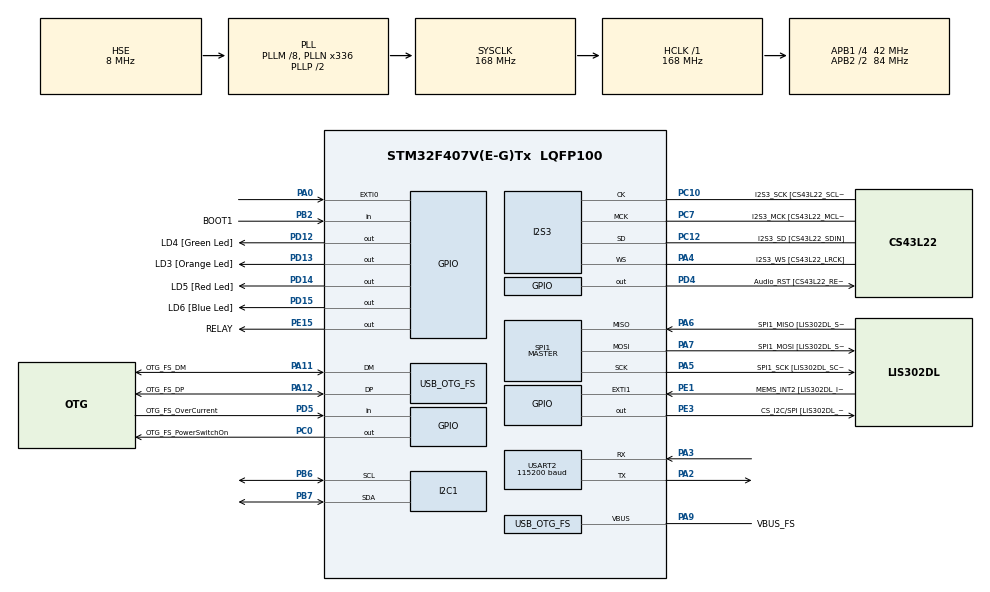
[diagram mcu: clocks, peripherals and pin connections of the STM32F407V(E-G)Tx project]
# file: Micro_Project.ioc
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Dma.Request0=USART2_RX
Dma.USART2_RX.0.Direction=DMA_PERIPH_TO_MEMORY
Dma.USART2_RX.0.FIFOMode=DMA_FIFOMODE_DISABLE
Dma.USART2_RX.0.Instance=DMA1_Stream5
Dma.USART2_RX.0.MemDataAlignment=DMA_MDATAALIGN_BYTE
Dma.USART2_RX.0.MemInc=DMA_MINC_ENABLE
Dma.USART2_RX.0.Mode=DMA_CIRCULAR
Dma.USART2_RX.0.PeriphDataAlignment=DMA_PDATAALIGN_BYTE
Dma.USART2_RX.0.PeriphInc=DMA_PINC_DISABLE
Dma.USART2_RX.0.Priority=DMA_PRIORITY_LOW
I2C1.I2C_Mode=I2C_Fast
I2S3.AudioFreq-Half_Duplex_Master=I2S_AUDIOFREQ_96K
I2S3.ErrorAudioFreq=-2.34 %
I2S3.ErrorAudioFreq-Half_Duplex_Master=0.8 %
I2S3.FullDuplexMode=I2S_FULLDUPLEXMODE_DISABLE
I2S3.Instance=SPI$Index
I2S3.RealAudioFreq=93.75 KHz
I2S3.RealAudioFreq-Half_Duplex_Master=96.774 KHz
I2S3.VirtualMode=I2S_MODE_MASTER
Mcu.Family=STM32F4
Mcu.Name=STM32F407V(E-G)Tx
Mcu.Package=LQFP100
NVIC.DMA1_Stream5_IRQn=true\:1\:0\:true\:false\:true\:false\:true\:true
NVIC.EXTI0_IRQn=true\:1\:0\:true\:false\:true\:true\:true\:true
NVIC.OTG_FS_IRQn=true\:1\:0\:true\:false\:true\:true\:true\:true
NVIC.PriorityGroup=NVIC_PRIORITYGROUP_1
NVIC.USART2_IRQn=true\:1\:0\:true\:false\:true\:true\:true\:true
PA0-WKUP.Signal=GPXTI0
PA10.GPIO_Label=OTG_FS_ID
PA10.GPIO_Mode=GPIO_MODE_AF_PP
PA10.GPIO_PuPd=GPIO_NOPULL
PA10.GPIO_Speed=GPIO_SPEED_FREQ_LOW
PA10.Signal=USB_OTG_FS_ID
PA11.GPIO_Label=OTG_FS_DM
PA11.GPIO_Mode=GPIO_MODE_AF_PP
PA11.GPIO_PuPd=GPIO_NOPULL
PA11.GPIO_Speed=GPIO_SPEED_FREQ_LOW
PA11.Mode=Host_Only
PA11.Signal=USB_OTG_FS_DM
PA12.GPIO_Label=OTG_FS_DP
PA12.GPIO_Mode=GPIO_MODE_AF_PP
PA12.GPIO_PuPd=GPIO_NOPULL
PA12.GPIO_Speed=GPIO_SPEED_FREQ_LOW
PA12.Mode=Host_Only
PA12.Signal=USB_OTG_FS_DP
PA13.GPIO_Label=SWDIO
PA13.Mode=Serial_Wire
PA13.Signal=SYS_JTMS-SWDIO
PA14.GPIO_Label=SWCLK
PA14.Mode=Serial_Wire
PA14.Signal=SYS_JTCK-SWCLK
PA2.Mode=Asynchronous
PA2.Signal=USART2_TX
PA3.Mode=Asynchronous
PA3.Signal=USART2_RX
PA4.GPIO_Label=I2S3_WS [CS43L22_LRCK]
PA4.GPIO_Mode=GPIO_MODE_AF_PP
PA4.GPIO_PuPd=GPIO_NOPULL
PA4.GPIO_Speed=GPIO_SPEED_FREQ_LOW
PA4.Mode=Half_Duplex_Master
PA4.Signal=I2S3_WS
PA5.GPIO_Label=SPI1_SCK [LIS302DL_SCL/SPC]
PA5.GPIO_Mode=GPIO_MODE_AF_PP
PA5.GPIO_PuPd=GPIO_NOPULL
PA5.GPIO_Speed=GPIO_SPEED_FREQ_LOW
PA5.Mode=Full_Duplex_Master
PA5.Signal=SPI1_SCK
PA6.GPIO_Label=SPI1_MISO [LIS302DL_SDO]
PA6.GPIO_Mode=GPIO_MODE_AF_PP
PA6.GPIO_PuPd=GPIO_NOPULL
PA6.GPIO_Speed=GPIO_SPEED_FREQ_LOW
PA6.Mode=Full_Duplex_Master
PA6.Signal=SPI1_MISO
PA7.GPIO_Label=SPI1_MOSI [LIS302DL_SDA/SDI/SDO]
PA7.GPIO_Mode=GPIO_MODE_AF_PP
PA7.GPIO_PuPd=GPIO_NOPULL
PA7.GPIO_Speed=GPIO_SPEED_FREQ_LOW
PA7.Mode=Full_Duplex_Master
PA7.Signal=SPI1_MOSI
PA9.GPIO_Label=VBUS_FS
PA9.GPIO_Mode=GPIO_MODE_INPUT
PA9.GPIO_PuPd=GPIO_NOPULL
PA9.Mode=Activate_VBUS
PA9.Signal=USB_OTG_FS_VBUS
PB10.GPIO_Label=CLK_IN [MP45DT02_CLK]
PB10.GPIO_Mode=GPIO_MODE_AF_PP
PB10.GPIO_PuPd=GPIO_NOPULL
PB10.GPIO_Speed=GPIO_SPEED_FREQ_LOW
PB10.Signal=I2S2_CK
PB2.GPIO_Label=BOOT1
PB2.GPIO_Mode=GPIO_MODE_INPUT
PB2.GPIO_PuPd=GPIO_NOPULL
PB2.Signal=GPIO_Input
PB3.GPIO_Label=SWO
PB3.Signal=SYS_JTDO-SWO
PB6.Mode=I2C
PB6.Signal=I2C1_SCL
PB7.Mode=I2C
PB7.Signal=I2C1_SDA
PC0.GPIO_Label=OTG_FS_PowerSwitchOn
PC0.GPIO_PuPd=GPIO_NOPULL
PC0.GPIO_Speed=GPIO_SPEED_FREQ_LOW
PC0.PinState=GPIO_PIN_SET
PC0.Signal=GPIO_Output
PC10.GPIO_Label=I2S3_SCK [CS43L22_SCLK]
PC10.GPIO_Mode=GPIO_MODE_AF_PP
PC10.GPIO_PuPd=GPIO_NOPULL
PC10.GPIO_Speed=GPIO_SPEED_FREQ_LOW
PC10.Mode=Half_Duplex_Master
PC10.Signal=I2S3_CK
PC12.GPIO_Label=I2S3_SD [CS43L22_SDIN]
PC12.GPIO_Mode=GPIO_MODE_AF_PP
PC12.GPIO_PuPd=GPIO_NOPULL
PC12.GPIO_Speed=GPIO_SPEED_FREQ_LOW
PC12.Mode=Half_Duplex_Master
PC12.Signal=I2S3_SD
PC14-OSC32_IN.GPIO_Label=PC14-OSC32_IN
PC14-OSC32_IN.Mode=LSE-External-Oscillator
PC14-OSC32_IN.Signal=RCC_OSC32_IN
PC15-OSC32_OUT.GPIO_Label=PC15-OSC32_OUT
PC15-OSC32_OUT.Mode=LSE-External-Oscillator
PC15-OSC32_OUT.Signal=RCC_OSC32_OUT
PC3.GPIO_Label=PDM_OUT [MP45DT02_DOUT]
PC3.GPIO_Mode=GPIO_MODE_AF_PP
PC3.GPIO_PuPd=GPIO_NOPULL
PC3.GPIO_Speed=GPIO_SPEED_FREQ_LOW
PC3.Signal=I2S2_SD
PC7.GPIO_Label=I2S3_MCK [CS43L22_MCLK]
PC7.GPIO_Mode=GPIO_MODE_AF_PP
PC7.GPIO_PuPd=GPIO_NOPULL
PC7.GPIO_Speed=GPIO_SPEED_FREQ_LOW
PC7.Mode=Master_Clock_Activated
PC7.Signal=I2S3_MCK
PD12.GPIO_Label=LD4 [Green Led]
PD12.GPIO_PuPd=GPIO_NOPULL
PD12.GPIO_Speed=GPIO_SPEED_FREQ_LOW
PD12.Signal=GPIO_Output
PD13.GPIO_Label=LD3 [Orange Led]
PD13.GPIO_PuPd=GPIO_NOPULL
PD13.GPIO_Speed=GPIO_SPEED_FREQ_LOW
PD13.Signal=GPIO_Output
PD14.GPIO_Label=LD5 [Red Led]
PD14.GPIO_PuPd=GPIO_NOPULL
PD14.GPIO_Speed=GPIO_SPEED_FREQ_LOW
PD14.Signal=GPIO_Output
PD15.GPIO_Label=LD6 [Blue Led]
PD15.GPIO_PuPd=GPIO_NOPULL
PD15.GPIO_Speed=GPIO_SPEED_FREQ_LOW
PD15.Signal=GPIO_Output
PD4.GPIO_Label=Audio_RST [CS43L22_RESET]
PD4.GPIO_PuPd=GPIO_NOPULL
PD4.GPIO_Speed=GPIO_SPEED_FREQ_LOW
PD4.Signal=GPIO_Output
PD5.GPIO_Label=OTG_FS_OverCurrent
PD5.GPIO_Mode=GPIO_MODE_INPUT
PD5.GPIO_PuPd=GPIO_NOPULL
PD5.Signal=GPIO_Input
PE1.GPIO_Label=MEMS_INT2 [LIS302DL_INT2]
PE1.GPIO_ModeDefaultEXTI=GPIO_MODE_EVT_RISING
PE1.GPIO_PuPd=GPIO_NOPULL
PE1.Signal=GPXTI1
PE15.GPIO_Label=RELAY
PE15.Signal=GPIO_Output
PE3.GPIO_Label=CS_I2C/SPI [LIS302DL_CS_I2C/SPI]
PE3.GPIO_PuPd=GPIO_NOPULL
PE3.GPIO_Speed=GPIO_SPEED_FREQ_LOW
PE3.Signal=GPIO_Output
PH0-OSC_IN.GPIO_Label=PH0-OSC_IN
PH0-OSC_IN.Mode=HSE-External-Oscillator
PH0-OSC_IN.Signal=RCC_OSC_IN
PH1-OSC_OUT.GPIO_Label=PH1-OSC_OUT
PH1-OSC_OUT.Mode=HSE-External-Oscillator
PH1-OSC_OUT.Signal=RCC_OSC_OUT
ProjectManager.HeapSize=0x200
ProjectManager.StackSize=0x400
ProjectManager.TargetToolchain=STM32CubeIDE
RCC.48MHZClocksFreq_Value=48000000
RCC.AHBFreq_Value=168000000
RCC.APB1CLKDivider=RCC_HCLK_DIV4
RCC.APB1Freq_Value=42000000
RCC.APB1TimFreq_Value=84000000
RCC.APB2CLKDivider=RCC_HCLK_DIV2
RCC.APB2Freq_Value=84000000
RCC.APB2TimFreq_Value=168000000
RCC.CortexFreq_Value=168000000
RCC.HCLKFreq_Value=168000000
RCC.HSE_VALUE=8000000
RCC.HSI_VALUE=16000000
RCC.PLLM=8
RCC.PLLN=336
RCC.PLLQ=7
RCC.SYSCLKFreq_VALUE=168000000
RCC.SYSCLKSource=RCC_SYSCLKSOURCE_PLLCLK
RCC.VCOOutputFreq_Value=336000000
SPI1.BaudRatePrescaler-Full_Duplex_Master=SPI_BAUDRATEPRESCALER_2
SPI1.CalculateBaudRate-Full_Duplex_Master=42.0 MBits/s
SPI1.Direction=SPI_DIRECTION_2LINES
SPI1.Mode=SPI_MODE_MASTER
SPI1.Mode-Full_Duplex_Master=SPI_MODE_MASTER
SPI1.VirtualType=VM_MASTER
USART2.BaudRate=115200
USART2.VirtualMode=VM_ASYNC
USB_HOST.BSP.number=1
USB_HOST.USBH_HandleTypeDef-CDC_FS=hUsbHostFS
USB_HOST.VirtualModeFS=Cdc
USB_HOST0.BSP.STBoard=false
USB_HOST0.BSP.api=Unknown
USB_HOST0.BSP.instance=PC0
USB_HOST0.BSP.ip=GPIO
USB_HOST0.BSP.mode=Output
USB_HOST0.BSP.name=Drive_VBUS_FS
USB_HOST0.BSP.solution=PC0
USB_OTG_FS.VirtualMode=Host_Only
USB_OTG_FS.phy_itface=HCD_PHY_EMBEDDED
VP_USB_HOST_VS_USB_HOST_CDC_FS.Mode=CDC_FS
board=STM32F407G-DISC1

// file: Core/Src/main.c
/* USER CODE BEGIN Header */
/**
  ******************************************************************************
  * @file           : main.c
  * @brief          : Main program body
  ******************************************************************************
  * @attention
  *
  * Copyright (c) 2023 STMicroelectronics.
  * All rights reserved.
  *
  * This software is licensed under terms that can be found in the LICENSE file
  * in the root directory of this software component.
  * If no LICENSE file comes with this software, it is provided AS-IS.
  *
  ******************************************************************************
  */
/* USER CODE END Header */
#include "main.h"
#include "usb_host.h"

/* USER CODE BEGIN Includes */
#include "BMP180.h"
/* USER CODE END Includes */

I2C_HandleTypeDef hi2c1;

I2S_HandleTypeDef hi2s3;

SPI_HandleTypeDef hspi1;

UART_HandleTypeDef huart2;
DMA_HandleTypeDef hdma_usart2_rx;

/* USER CODE BEGIN PV */

float Temperature						;
uint8_t mode_select 		   	    =  0;
uint8_t lower_limit 		  	    = 20;
uint8_t upper_limit 		  	    = 21;
uint8_t Rx_data[8]						;
uint8_t combi_state 			   	 = 0;
volatile uint32_t tick_counter	 	=  0;

/* USER CODE END PV */

void SystemClock_Config(void);
static void MX_GPIO_Init(void);
static void MX_DMA_Init(void);
static void MX_I2C1_Init(void);
static void MX_I2S3_Init(void);
static void MX_SPI1_Init(void);
static void MX_USART2_UART_Init(void);
void MX_USB_HOST_Process(void);

int main(void)
{

  /* MCU Configuration--------------------------------------------------------*/

  /* Reset of all peripherals, Initializes the Flash interface and the Systick. */
  HAL_Init();

  /* Configure the system clock */
  SystemClock_Config();

  /* Initialize all configured peripherals */
  MX_GPIO_Init();
  MX_DMA_Init();
  MX_I2C1_Init();
  MX_I2S3_Init();
  MX_SPI1_Init();
  MX_USB_HOST_Init();
  MX_USART2_UART_Init();
  /* USER CODE BEGIN 2 */
  /* bmp180 ve uart it sini baslat */
  BMP180_Start();
  HAL_UART_Receive_IT(&huart2, Rx_data, 3);
  /* USER CODE END 2 */

  /* Infinite loop */
  while (1)
  {
    MX_USB_HOST_Process();

    /* USER CODE BEGIN 3 */

    uint8_t data[3] = "";
    /* sicaklik verisini oku */
    Temperature = BMP180_GetTemp();
//    uint8_t temperature = 0;
//    temperature = (int)Temperature;
//    sprintf(data, "%d", temperature + 300);
//    HAL_UART_Transmit (&huart2, data, sizeof (data), 10);

    /* kombinin acik olup olmadigini kontrol et */
    if(combi_state)
    {
    	/* kombinin acik oldugunu ilet */
    	uint8_t dataon[1] = "a";
    	HAL_UART_Transmit (&huart2, dataon, sizeof (dataon), 10);
    }
    else
    {
    	/* kombinin kapali oldugunu ilet */
    	uint8_t dataoff[1] = "b";
    	HAL_UART_Transmit (&huart2, dataoff, sizeof (dataoff), 10);
    }
    HAL_Delay(200);

    /* mode u kontrol et */
    if(!mode_select)
    {   /* mode a gore ledleri binary olarak kaydet */
    	HAL_GPIO_WritePin(LD4_GPIO_Port, LD4_Pin, ((lower_limit - 20) & 0x01));
    	HAL_GPIO_WritePin(LD6_GPIO_Port, LD6_Pin, ((lower_limit - 20) & 0x02));
    	HAL_GPIO_WritePin(LD5_GPIO_Port, LD5_Pin, ((lower_limit - 20) & 0x04));
    }
    else
    {
    	/* mode a gore ledleri binary olarak kaydet */
    	HAL_GPIO_WritePin(LD4_GPIO_Port, LD4_Pin, ((upper_limit - 21) & 0x01));
    	HAL_GPIO_WritePin(LD6_GPIO_Port, LD6_Pin, ((upper_limit - 21) & 0x02));
    	HAL_GPIO_WritePin(LD5_GPIO_Port, LD5_Pin, ((upper_limit - 21) & 0x04));
    }

    /* sicaklik alt limitin altindaysa kombiyi ac */
    if(Temperature < lower_limit)
    {
    	HAL_GPIO_WritePin(GPIOE, GPIO_PIN_15, SET);
    	combi_state = 1;
    }
    /* sicaklik ust limitin ustundeyse kombiyi kapat */
    if(Temperature > upper_limit)
    {
    	HAL_GPIO_WritePin(GPIOE, GPIO_PIN_15, RESET);
    	combi_state = 0;
    }

  }
  /* USER CODE END 3 */
}

void SystemClock_Config(void)
{
  RCC_OscInitTypeDef RCC_OscInitStruct = {0};
  RCC_ClkInitTypeDef RCC_ClkInitStruct = {0};

  /** Configure the main internal regulator output voltage
  */
  __HAL_RCC_PWR_CLK_ENABLE();
  __HAL_PWR_VOLTAGESCALING_CONFIG(PWR_REGULATOR_VOLTAGE_SCALE1);

  /** Initializes the RCC Oscillators according to the specified parameters
  * in the RCC_OscInitTypeDef structure.
  */
  RCC_OscInitStruct.OscillatorType = RCC_OSCILLATORTYPE_HSE;
  RCC_OscInitStruct.HSEState = RCC_HSE_ON;
  RCC_OscInitStruct.PLL.PLLState = RCC_PLL_ON;
  RCC_OscInitStruct.PLL.PLLSource = RCC_PLLSOURCE_HSE;
  RCC_OscInitStruct.PLL.PLLM = 8;
  RCC_OscInitStruct.PLL.PLLN = 336;
  RCC_OscInitStruct.PLL.PLLP = RCC_PLLP_DIV2;
  RCC_OscInitStruct.PLL.PLLQ = 7;
  if (HAL_RCC_OscConfig(&RCC_OscInitStruct) != HAL_OK)
  {
    Error_Handler();
  }

  /** Initializes the CPU, AHB and APB buses clocks
  */
  RCC_ClkInitStruct.ClockType = RCC_CLOCKTYPE_HCLK|RCC_CLOCKTYPE_SYSCLK
                              |RCC_CLOCKTYPE_PCLK1|RCC_CLOCKTYPE_PCLK2;
  RCC_ClkInitStruct.SYSCLKSource = RCC_SYSCLKSOURCE_PLLCLK;
  RCC_ClkInitStruct.AHBCLKDivider = RCC_SYSCLK_DIV1;
  RCC_ClkInitStruct.APB1CLKDivider = RCC_HCLK_DIV4;
  RCC_ClkInitStruct.APB2CLKDivider = RCC_HCLK_DIV2;

  if (HAL_RCC_ClockConfig(&RCC_ClkInitStruct, FLASH_LATENCY_5) != HAL_OK)
  {
    Error_Handler();
  }
}

static void MX_I2C1_Init(void)
{

  hi2c1.Instance = I2C1;
  hi2c1.Init.ClockSpeed = 400000;
  hi2c1.Init.DutyCycle = I2C_DUTYCYCLE_2;
  hi2c1.Init.OwnAddress1 = 0;
  hi2c1.Init.AddressingMode = I2C_ADDRESSINGMODE_7BIT;
  hi2c1.Init.DualAddressMode = I2C_DUALADDRESS_DISABLE;
  hi2c1.Init.OwnAddress2 = 0;
  hi2c1.Init.GeneralCallMode = I2C_GENERALCALL_DISABLE;
  hi2c1.Init.NoStretchMode = I2C_NOSTRETCH_DISABLE;
  if (HAL_I2C_Init(&hi2c1) != HAL_OK)
  {
    Error_Handler();
  }

}

static void MX_I2S3_Init(void)
{

  hi2s3.Instance = SPI3;
  hi2s3.Init.Mode = I2S_MODE_MASTER_TX;
  hi2s3.Init.Standard = I2S_STANDARD_PHILIPS;
  hi2s3.Init.DataFormat = I2S_DATAFORMAT_16B;
  hi2s3.Init.MCLKOutput = I2S_MCLKOUTPUT_ENABLE;
  hi2s3.Init.AudioFreq = I2S_AUDIOFREQ_96K;
  hi2s3.Init.CPOL = I2S_CPOL_LOW;
  hi2s3.Init.ClockSource = I2S_CLOCK_PLL;
  hi2s3.Init.FullDuplexMode = I2S_FULLDUPLEXMODE_DISABLE;
  if (HAL_I2S_Init(&hi2s3) != HAL_OK)
  {
    Error_Handler();
  }

}

static void MX_SPI1_Init(void)
{

  /* SPI1 parameter configuration*/
  hspi1.Instance = SPI1;
  hspi1.Init.Mode = SPI_MODE_MASTER;
  hspi1.Init.Direction = SPI_DIRECTION_2LINES;
  hspi1.Init.DataSize = SPI_DATASIZE_8BIT;
  hspi1.Init.CLKPolarity = SPI_POLARITY_LOW;
  hspi1.Init.CLKPhase = SPI_PHASE_1EDGE;
  hspi1.Init.NSS = SPI_NSS_SOFT;
  hspi1.Init.BaudRatePrescaler = SPI_BAUDRATEPRESCALER_2;
  hspi1.Init.FirstBit = SPI_FIRSTBIT_MSB;
  hspi1.Init.TIMode = SPI_TIMODE_DISABLE;
  hspi1.Init.CRCCalculation = SPI_CRCCALCULATION_DISABLE;
  hspi1.Init.CRCPolynomial = 10;
  if (HAL_SPI_Init(&hspi1) != HAL_OK)
  {
    Error_Handler();
  }

}

static void MX_USART2_UART_Init(void)
{

  huart2.Instance = USART2;
  huart2.Init.BaudRate = 115200;
  huart2.Init.WordLength = UART_WORDLENGTH_8B;
  huart2.Init.StopBits = UART_STOPBITS_1;
  huart2.Init.Parity = UART_PARITY_NONE;
  huart2.Init.Mode = UART_MODE_TX_RX;
  huart2.Init.HwFlowCtl = UART_HWCONTROL_NONE;
  huart2.Init.OverSampling = UART_OVERSAMPLING_16;
  if (HAL_UART_Init(&huart2) != HAL_OK)
  {
    Error_Handler();
  }

}

static void MX_DMA_Init(void)
{

  /* DMA controller clock enable */
  __HAL_RCC_DMA1_CLK_ENABLE();

  /* DMA interrupt init */
  /* DMA1_Stream5_IRQn interrupt configuration */
  HAL_NVIC_SetPriority(DMA1_Stream5_IRQn, 1, 0);
  HAL_NVIC_EnableIRQ(DMA1_Stream5_IRQn);

}

static void MX_GPIO_Init(void)
{
  GPIO_InitTypeDef GPIO_InitStruct = {0};

  /* GPIO Ports Clock Enable */
  __HAL_RCC_GPIOE_CLK_ENABLE();
  __HAL_RCC_GPIOC_CLK_ENABLE();
  __HAL_RCC_GPIOH_CLK_ENABLE();
  __HAL_RCC_GPIOA_CLK_ENABLE();
  __HAL_RCC_GPIOB_CLK_ENABLE();
  __HAL_RCC_GPIOD_CLK_ENABLE();

  /*Configure GPIO pin Output Level */
  HAL_GPIO_WritePin(GPIOE, CS_I2C_SPI_Pin|RELAY_Pin, GPIO_PIN_RESET);

  /*Configure GPIO pin Output Level */
  HAL_GPIO_WritePin(OTG_FS_PowerSwitchOn_GPIO_Port, OTG_FS_PowerSwitchOn_Pin, GPIO_PIN_SET);

  /*Configure GPIO pin Output Level */
  HAL_GPIO_WritePin(GPIOD, LD4_Pin|LD3_Pin|LD5_Pin|LD6_Pin
                          |Audio_RST_Pin, GPIO_PIN_RESET);

  /*Configure GPIO pins : CS_I2C_SPI_Pin RELAY_Pin */
  GPIO_InitStruct.Pin = CS_I2C_SPI_Pin|RELAY_Pin;
  GPIO_InitStruct.Mode = GPIO_MODE_OUTPUT_PP;
  GPIO_InitStruct.Pull = GPIO_NOPULL;
  GPIO_InitStruct.Speed = GPIO_SPEED_FREQ_LOW;
  HAL_GPIO_Init(GPIOE, &GPIO_InitStruct);

  /*Configure GPIO pin : OTG_FS_PowerSwitchOn_Pin */
  GPIO_InitStruct.Pin = OTG_FS_PowerSwitchOn_Pin;
  GPIO_InitStruct.Mode = GPIO_MODE_OUTPUT_PP;
  GPIO_InitStruct.Pull = GPIO_NOPULL;
  GPIO_InitStruct.Speed = GPIO_SPEED_FREQ_LOW;
  HAL_GPIO_Init(OTG_FS_PowerSwitchOn_GPIO_Port, &GPIO_InitStruct);

  /*Configure GPIO pin : PDM_OUT_Pin */
  GPIO_InitStruct.Pin = PDM_OUT_Pin;
  GPIO_InitStruct.Mode = GPIO_MODE_AF_PP;
  GPIO_InitStruct.Pull = GPIO_NOPULL;
  GPIO_InitStruct.Speed = GPIO_SPEED_FREQ_LOW;
  GPIO_InitStruct.Alternate = GPIO_AF5_SPI2;
  HAL_GPIO_Init(PDM_OUT_GPIO_Port, &GPIO_InitStruct);

  /*Configure GPIO pin : PA0 */
  GPIO_InitStruct.Pin = GPIO_PIN_0;
  GPIO_InitStruct.Mode = GPIO_MODE_IT_RISING;
  GPIO_InitStruct.Pull = GPIO_NOPULL;
  HAL_GPIO_Init(GPIOA, &GPIO_InitStruct);

  /*Configure GPIO pin : BOOT1_Pin */
  GPIO_InitStruct.Pin = BOOT1_Pin;
  GPIO_InitStruct.Mode = GPIO_MODE_INPUT;
  GPIO_InitStruct.Pull = GPIO_NOPULL;
  HAL_GPIO_Init(BOOT1_GPIO_Port, &GPIO_InitStruct);

  /*Configure GPIO pin : CLK_IN_Pin */
  GPIO_InitStruct.Pin = CLK_IN_Pin;
  GPIO_InitStruct.Mode = GPIO_MODE_AF_PP;
  GPIO_InitStruct.Pull = GPIO_NOPULL;
  GPIO_InitStruct.Speed = GPIO_SPEED_FREQ_LOW;
  GPIO_InitStruct.Alternate = GPIO_AF5_SPI2;
  HAL_GPIO_Init(CLK_IN_GPIO_Port, &GPIO_InitStruct);

  /*Configure GPIO pins : LD4_Pin LD3_Pin LD5_Pin LD6_Pin
                           Audio_RST_Pin */
  GPIO_InitStruct.Pin = LD4_Pin|LD3_Pin|LD5_Pin|LD6_Pin
                          |Audio_RST_Pin;
  GPIO_InitStruct.Mode = GPIO_MODE_OUTPUT_PP;
  GPIO_InitStruct.Pull = GPIO_NOPULL;
  GPIO_InitStruct.Speed = GPIO_SPEED_FREQ_LOW;
  HAL_GPIO_Init(GPIOD, &GPIO_InitStruct);

  /*Configure GPIO pin : OTG_FS_OverCurrent_Pin */
  GPIO_InitStruct.Pin = OTG_FS_OverCurrent_Pin;
  GPIO_InitStruct.Mode = GPIO_MODE_INPUT;
  GPIO_InitStruct.Pull = GPIO_NOPULL;
  HAL_GPIO_Init(OTG_FS_OverCurrent_GPIO_Port, &GPIO_InitStruct);

  /*Configure GPIO pin : MEMS_INT2_Pin */
  GPIO_InitStruct.Pin = MEMS_INT2_Pin;
  GPIO_InitStruct.Mode = GPIO_MODE_EVT_RISING;
  GPIO_InitStruct.Pull = GPIO_NOPULL;
  HAL_GPIO_Init(MEMS_INT2_GPIO_Port, &GPIO_InitStruct);

  /* EXTI interrupt init*/
  HAL_NVIC_SetPriority(EXTI0_IRQn, 1, 0);
  HAL_NVIC_EnableIRQ(EXTI0_IRQn);

}

/* USER CODE BEGIN 4 */
HAL_GPIO_EXTI_Callback(uint16_t GPIO_Pin)
{
	/* interrupt gelen pini kontrol et */
	if(GPIO_Pin == GPIO_PIN_0)
	{
		/* pine art arda basilip basilmadigini kontrol et */
		if((HAL_GetTick() - tick_counter) > 3000)
		{
			/* mode u 0 <-> 1 olarak degistir */
			mode_select++;
			if(mode_select > 1)
			{
				mode_select = 0;
			}
			if(mode_select)
			{
				/* turuncu ledi yak */
				HAL_GPIO_WritePin(LD3_GPIO_Port, LD3_Pin, SET);
				HAL_Delay(100);
			}
			else
			{
				/* turuncu ledi sondur */
				HAL_GPIO_WritePin(LD3_GPIO_Port, LD3_Pin, RESET);
				HAL_Delay(100);
			}
		}
		else
		{
			/* mode == 0 ise*/
			if(!mode_select)
			{
				lower_limit++;
				if(lower_limit > 27)
				{
					lower_limit = 20;
				}

				/* ust limitin alt limitten buyuk olmasini sagla */
				if(upper_limit <= lower_limit)
				{
					upper_limit = lower_limit + 1;
				}
				HAL_Delay(50);
			}
			/* mode == 1 ise*/
			else
			{
				upper_limit++;
				if(upper_limit > 28)
				{
					upper_limit = 21;
				}

				/* alt limitin ust limikten kucuk olmasini sagla */
				if(upper_limit <= lower_limit)
				{
					 lower_limit = upper_limit - 1;
				}
				HAL_Delay(50);
			}
		}
		/* tekrardan olcum yapabilmek icin tick i kaydet */
		tick_counter = HAL_GetTick();
	}
}

void HAL_UART_RxCpltCallback(UART_HandleTypeDef *huart)
{
	/* interrupti tekrardan aktiflestir */
	HAL_UART_Receive_IT(&huart2, Rx_data, 3);
	/* hangi limit oldugunu kontrol et */
	if((Rx_data[0] - '0') == 1)
	{
		/* char dan int e donustur */
		lower_limit = (Rx_data[1] - '0') * 10;
		lower_limit += (Rx_data[2] - '0');
	}
	if((Rx_data[0] - '0') == 2)
	{
		/* char dan int e donustur */
		upper_limit = (Rx_data[1] - '0') * 10;
		upper_limit += (Rx_data[2] - '0');
	}

}
/* USER CODE END 4 */

void Error_Handler(void)
{
  __disable_irq();
  while (1)
  {
  }
}
